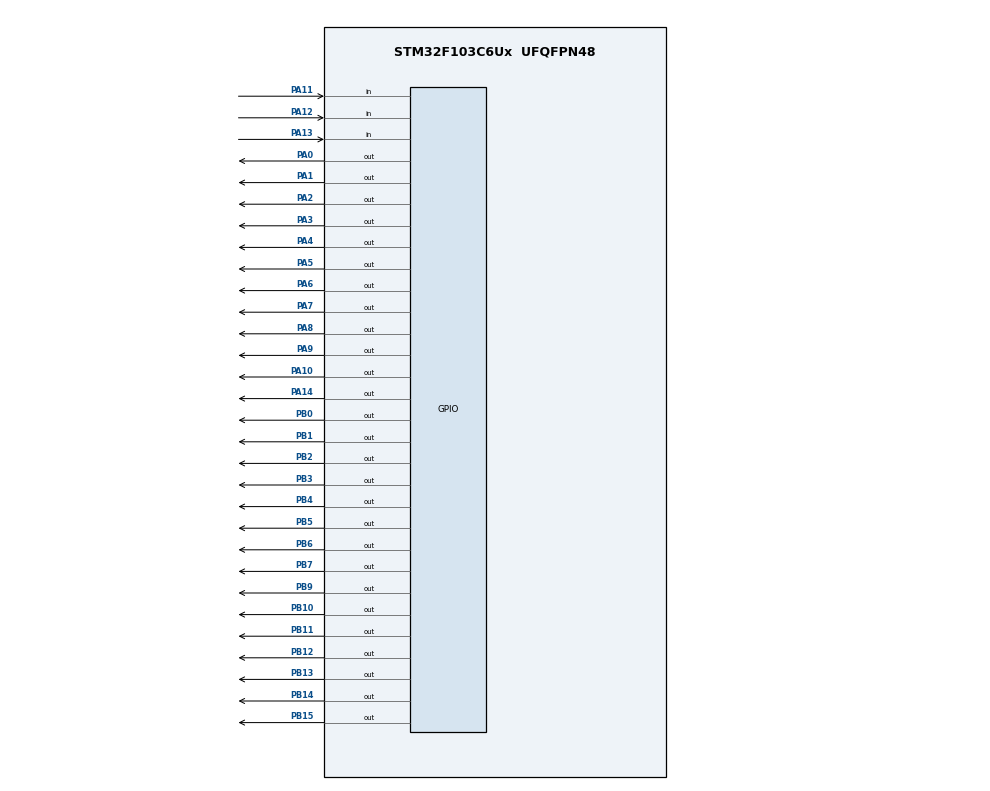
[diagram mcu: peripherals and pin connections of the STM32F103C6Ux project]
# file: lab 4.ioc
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Mcu.Family=STM32F1
Mcu.Name=STM32F103C6Ux
Mcu.Package=UFQFPN48
NVIC.PriorityGroup=NVIC_PRIORITYGROUP_4
NVIC.TIM2_IRQn=true\:0\:0\:false\:false\:true\:true\:true
PA0-WKUP.Signal=GPIO_Output
PA1.Signal=GPIO_Output
PA10.Signal=GPIO_Output
PA11.GPIO_PuPd=GPIO_PULLUP
PA11.Signal=GPIO_Input
PA12.GPIO_PuPd=GPIO_PULLUP
PA12.Signal=GPIO_Input
PA13.GPIO_PuPd=GPIO_PULLUP
PA13.Signal=GPIO_Input
PA14.Signal=GPIO_Output
PA2.Signal=GPIO_Output
PA3.Signal=GPIO_Output
PA4.Signal=GPIO_Output
PA5.Signal=GPIO_Output
PA6.Signal=GPIO_Output
PA7.Signal=GPIO_Output
PA8.Signal=GPIO_Output
PA9.Signal=GPIO_Output
PB0.Signal=GPIO_Output
PB1.Signal=GPIO_Output
PB10.Signal=GPIO_Output
PB11.Signal=GPIO_Output
PB12.Signal=GPIO_Output
PB13.Signal=GPIO_Output
PB14.Signal=GPIO_Output
PB15.Signal=GPIO_Output
PB2.Signal=GPIO_Output
PB3.Signal=GPIO_Output
PB4.Signal=GPIO_Output
PB5.Signal=GPIO_Output
PB6.Signal=GPIO_Output
PB7.Signal=GPIO_Output
PB9.Signal=GPIO_Output
ProjectManager.HeapSize=0x200
ProjectManager.StackSize=0x400
ProjectManager.TargetToolchain=STM32CubeIDE
RCC.APB1Freq_Value=8000000
RCC.APB2Freq_Value=8000000
TIM2.Period=9
TIM2.Prescaler=7999
VP_SYS_VS_ND.Mode=No_Debug
VP_TIM2_VS_ClockSourceINT.Mode=Internal
board=custom

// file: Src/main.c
/* USER CODE BEGIN Header */
/**
  ******************************************************************************
  * @file           : main.c
  * @brief          : Main program body
  ******************************************************************************
  * @attention
  *
  * <h2><center>&copy; Copyright (c) 2024 STMicroelectronics.
  * All rights reserved.</center></h2>
  *
  * This software component is licensed by ST under BSD 3-Clause license,
  * the "License"; You may not use this file except in compliance with the
  * License. You may obtain a copy of the License at:
  *                        opensource.org/licenses/BSD-3-Clause
  *
  ******************************************************************************
  */
/* USER CODE END Header */
#include "main.h"

/* USER CODE BEGIN Includes */
#include "scheduler.h"
#include "timer_0.h"
#include "input_proccessing.h"
#include "input_reading.h"
#include "global.h"
/* USER CODE END Includes */

TIM_HandleTypeDef htim2;

void SystemClock_Config(void);
static void MX_GPIO_Init(void);
static void MX_TIM2_Init(void);

/* USER CODE BEGIN 0 */

void led1Test(){
	HAL_GPIO_TogglePin(GPIOA, GPIO_PIN_1);
}

void led2Test(){
	HAL_GPIO_TogglePin(GPIOA, GPIO_PIN_2);
}

void led3Test(){
	HAL_GPIO_TogglePin(GPIOA, GPIO_PIN_3);
}

void led4Test(){
	HAL_GPIO_TogglePin(GPIOA, GPIO_PIN_4);
}

void led5Test(){
	HAL_GPIO_TogglePin(GPIOA, GPIO_PIN_5);
}

/* USER CODE END 0 */

int main(void)
{

  /* MCU Configuration--------------------------------------------------------*/

  /* Reset of all peripherals, Initializes the Flash interface and the Systick. */
  HAL_Init();

  /* Configure the system clock */
  SystemClock_Config();

  /* Initialize all configured peripherals */
  MX_GPIO_Init();
  MX_TIM2_Init();
  /* USER CODE BEGIN 2 */
  HAL_TIM_Base_Start_IT(&htim2);

  /* USER CODE END 2 */

  /* Infinite loop */
  /* USER CODE BEGIN WHILE */
//
//  SCH_Init();

//  SCH_Add_Task(timer_run, 0, 10);
//
//  SCH_Add_Task(button_reading, 0, 10);

//  SCH_Add_Task(led1Test, 0, 50);
//
//  SCH_Add_Task(led2Test, 0, 100);
//
//  SCH_Add_Task(led3Test, 0, 150);
//
//  SCH_Add_Task(led4Test, 0, 200);
//
//  SCH_Add_Task(led5Test, 0, 250);
//  SCH_Add_Task(mode_making, 0, 100);
//
//  SCH_Add_Task(fsm_for_input_processing0, 0, 100);
//
//  SCH_Add_Task(fsm_for_input_processing0, 0, 100);

//
//  SCH_Add_Task(led3Test, 0, 1);

  while (1)
  {

//	  SCH_Dispatch_Tasks();
	  mode_making();

	  fsm_for_input_processing0();

	  fsm_for_input_processing1();

	  /* USER CODE END WHILE */

  }
}

void SystemClock_Config(void)
{
  RCC_OscInitTypeDef RCC_OscInitStruct = {0};
  RCC_ClkInitTypeDef RCC_ClkInitStruct = {0};

  /** Initializes the RCC Oscillators according to the specified parameters
  * in the RCC_OscInitTypeDef structure.
  */
  RCC_OscInitStruct.OscillatorType = RCC_OSCILLATORTYPE_HSI;
  RCC_OscInitStruct.HSIState = RCC_HSI_ON;
  RCC_OscInitStruct.HSICalibrationValue = RCC_HSICALIBRATION_DEFAULT;
  RCC_OscInitStruct.PLL.PLLState = RCC_PLL_NONE;
  if (HAL_RCC_OscConfig(&RCC_OscInitStruct) != HAL_OK)
  {
    Error_Handler();
  }
  /** Initializes the CPU, AHB and APB buses clocks
  */
  RCC_ClkInitStruct.ClockType = RCC_CLOCKTYPE_HCLK|RCC_CLOCKTYPE_SYSCLK
                              |RCC_CLOCKTYPE_PCLK1|RCC_CLOCKTYPE_PCLK2;
  RCC_ClkInitStruct.SYSCLKSource = RCC_SYSCLKSOURCE_HSI;
  RCC_ClkInitStruct.AHBCLKDivider = RCC_SYSCLK_DIV1;
  RCC_ClkInitStruct.APB1CLKDivider = RCC_HCLK_DIV1;
  RCC_ClkInitStruct.APB2CLKDivider = RCC_HCLK_DIV1;

  if (HAL_RCC_ClockConfig(&RCC_ClkInitStruct, FLASH_LATENCY_0) != HAL_OK)
  {
    Error_Handler();
  }
}

static void MX_TIM2_Init(void)
{

  TIM_ClockConfigTypeDef sClockSourceConfig = {0};
  TIM_MasterConfigTypeDef sMasterConfig = {0};

  htim2.Instance = TIM2;
  htim2.Init.Prescaler = 7999;
  htim2.Init.CounterMode = TIM_COUNTERMODE_UP;
  htim2.Init.Period = 9;
  htim2.Init.ClockDivision = TIM_CLOCKDIVISION_DIV1;
  htim2.Init.AutoReloadPreload = TIM_AUTORELOAD_PRELOAD_DISABLE;
  if (HAL_TIM_Base_Init(&htim2) != HAL_OK)
  {
    Error_Handler();
  }
  sClockSourceConfig.ClockSource = TIM_CLOCKSOURCE_INTERNAL;
  if (HAL_TIM_ConfigClockSource(&htim2, &sClockSourceConfig) != HAL_OK)
  {
    Error_Handler();
  }
  sMasterConfig.MasterOutputTrigger = TIM_TRGO_RESET;
  sMasterConfig.MasterSlaveMode = TIM_MASTERSLAVEMODE_DISABLE;
  if (HAL_TIMEx_MasterConfigSynchronization(&htim2, &sMasterConfig) != HAL_OK)
  {
    Error_Handler();
  }

}

static void MX_GPIO_Init(void)
{
  GPIO_InitTypeDef GPIO_InitStruct = {0};

  /* GPIO Ports Clock Enable */
  __HAL_RCC_GPIOA_CLK_ENABLE();
  __HAL_RCC_GPIOB_CLK_ENABLE();

  /*Configure GPIO pin Output Level */
  HAL_GPIO_WritePin(GPIOA, GPIO_PIN_0|GPIO_PIN_1|GPIO_PIN_2|GPIO_PIN_3
                          |GPIO_PIN_4|GPIO_PIN_5|GPIO_PIN_6|GPIO_PIN_7
                          |GPIO_PIN_8|GPIO_PIN_9|GPIO_PIN_10|GPIO_PIN_14, GPIO_PIN_RESET);

  /*Configure GPIO pin Output Level */
  HAL_GPIO_WritePin(GPIOB, GPIO_PIN_0|GPIO_PIN_1|GPIO_PIN_2|GPIO_PIN_10
                          |GPIO_PIN_11|GPIO_PIN_12|GPIO_PIN_13|GPIO_PIN_14
                          |GPIO_PIN_15|GPIO_PIN_3|GPIO_PIN_4|GPIO_PIN_5
                          |GPIO_PIN_6|GPIO_PIN_7|GPIO_PIN_9, GPIO_PIN_RESET);

  /*Configure GPIO pins : PA0 PA1 PA2 PA3
                           PA4 PA5 PA6 PA7
                           PA8 PA9 PA10 PA14 */
  GPIO_InitStruct.Pin = GPIO_PIN_0|GPIO_PIN_1|GPIO_PIN_2|GPIO_PIN_3
                          |GPIO_PIN_4|GPIO_PIN_5|GPIO_PIN_6|GPIO_PIN_7
                          |GPIO_PIN_8|GPIO_PIN_9|GPIO_PIN_10|GPIO_PIN_14;
  GPIO_InitStruct.Mode = GPIO_MODE_OUTPUT_PP;
  GPIO_InitStruct.Pull = GPIO_NOPULL;
  GPIO_InitStruct.Speed = GPIO_SPEED_FREQ_LOW;
  HAL_GPIO_Init(GPIOA, &GPIO_InitStruct);

  /*Configure GPIO pins : PB0 PB1 PB2 PB10
                           PB11 PB12 PB13 PB14
                           PB15 PB3 PB4 PB5
                           PB6 PB7 PB9 */
  GPIO_InitStruct.Pin = GPIO_PIN_0|GPIO_PIN_1|GPIO_PIN_2|GPIO_PIN_10
                          |GPIO_PIN_11|GPIO_PIN_12|GPIO_PIN_13|GPIO_PIN_14
                          |GPIO_PIN_15|GPIO_PIN_3|GPIO_PIN_4|GPIO_PIN_5
                          |GPIO_PIN_6|GPIO_PIN_7|GPIO_PIN_9;
  GPIO_InitStruct.Mode = GPIO_MODE_OUTPUT_PP;
  GPIO_InitStruct.Pull = GPIO_NOPULL;
  GPIO_InitStruct.Speed = GPIO_SPEED_FREQ_LOW;
  HAL_GPIO_Init(GPIOB, &GPIO_InitStruct);

  /*Configure GPIO pins : PA11 PA12 PA13 */
  GPIO_InitStruct.Pin = GPIO_PIN_11|GPIO_PIN_12|GPIO_PIN_13;
  GPIO_InitStruct.Mode = GPIO_MODE_INPUT;
  GPIO_InitStruct.Pull = GPIO_PULLUP;
  HAL_GPIO_Init(GPIOA, &GPIO_InitStruct);

}

/* USER CODE BEGIN 4 */
void HAL_TIM_PeriodElapsedCallback(TIM_HandleTypeDef *htim){
//	SCH_Update();
	timer_run();
	 if(htim->Instance == TIM2){
	 button_reading();
	 }

}
/* USER CODE END 4 */

void Error_Handler(void)
{
  __disable_irq();
  while (1)
  {
  }
}

/************************ (C) COPYRIGHT STMicroelectronics *****END OF FILE****/
